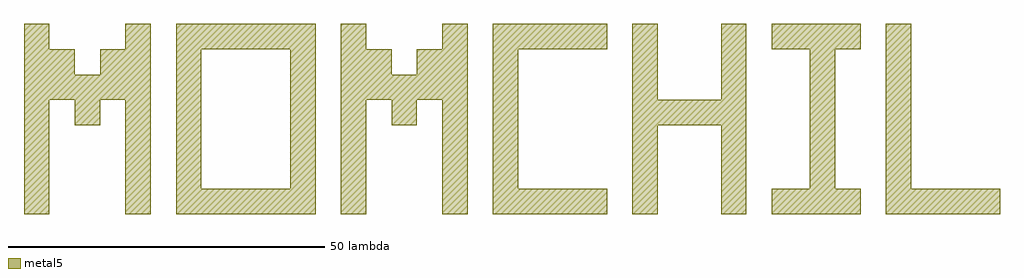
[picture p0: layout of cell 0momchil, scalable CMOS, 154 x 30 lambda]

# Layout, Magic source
magic
tech scmos
<< metal5 >>
rect 10 36 14 40
rect 26 36 30 40
rect 10 32 18 36
rect 22 32 30 36
rect 10 28 30 32
rect 10 10 14 28
rect 18 24 22 28
rect 26 10 30 28
rect 34 36 56 40
rect 34 14 38 36
rect 52 14 56 36
rect 34 10 56 14
rect 60 36 64 40
rect 76 36 80 40
rect 60 32 68 36
rect 72 32 80 36
rect 60 28 80 32
rect 60 10 64 28
rect 68 24 72 28
rect 76 10 80 28
rect 84 36 102 40
rect 84 14 88 36
rect 106 28 110 40
rect 120 28 124 40
rect 128 36 142 40
rect 106 24 124 28
rect 84 10 102 14
rect 106 10 110 24
rect 120 10 124 24
rect 134 14 138 36
rect 146 14 150 40
rect 128 10 142 14
rect 146 10 164 14
<< end >>
